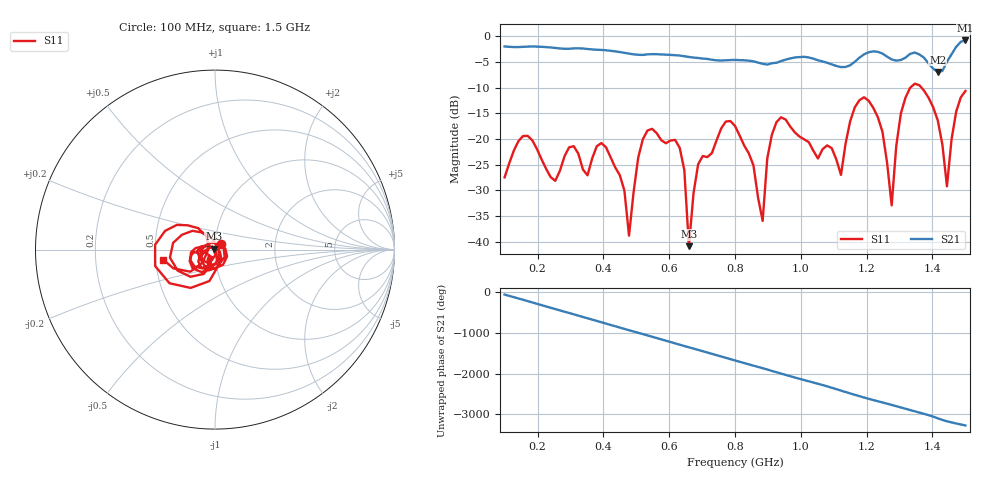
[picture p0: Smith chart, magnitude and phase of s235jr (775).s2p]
! NanoVNA-App
! Date: 2025-09-25 15:10:12
! Start: 100MHz Stop: 1,5GHz Points: 101
! S-Parameter data: F S11 S21 S12 S22
# Hz S RI R 50
!  Frequency  S11_Real  S11_Imag  S21_Real  S21_Imag  S12_Real  S12_Imag  S22_Real  S22_Imag
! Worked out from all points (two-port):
!   101 points, 100 MHz to 1.5 GHz, reference 50 ohm
!   highest |S21| = -0.80 dB at 1.5 GHz (marker M1); lowest = -6.9 dB at 1.416 GHz (marker M2)
!   |S21| within 3 dB of the highest: start of sweep to 638.3 MHz; 1.186 GHz to 1.258 GHz (72.62 MHz wide, 5.94 % of centre) (the widest 2 of 4)
!   lowest |S11| = -40.9 dB at 660 MHz (marker M3), VSWR 1.02, Z = 49.3 + j0.549 ohm
!   |S11| at or under -10 dB: start of sweep to 1.332 GHz; 1.367 GHz to end of sweep
!   S12 and S22 are empty: the file has one direction only
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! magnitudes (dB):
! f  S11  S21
! 100 MHz  -27.5  -2.0
! 156 MHz  -19.4  -2.0
! 338 MHz  -25.9  -2.4
! 408 MHz  -21.6  -2.7
! 478 MHz  -38.8  -3.4
! 520 MHz  -20.0  -3.6
! 576 MHz  -20.2  -3.5
! 632 MHz  -21.7  -3.7
! 660 MHz  -40.9  -4.0
! 688 MHz  -24.9  -4.2
! 800 MHz  -17.4  -4.6
! 884 MHz  -36.0  -5.3
! 926 MHz  -16.7  -5.1
! 1.038 GHz  -22.3  -4.3
! 1.122 GHz  -27.0  -6.0
! 1.192 GHz  -11.9  -3.5
! 1.248 GHz  -18.6  -3.3
! 1.276 GHz  -32.9  -4.5
! 1.332 GHz  -10.0  -3.4
! 1.416 GHz  -16.4  -6.9
! 1.444 GHz  -29.2  -5.0
! 1.5 GHz  -10.6  -0.8
